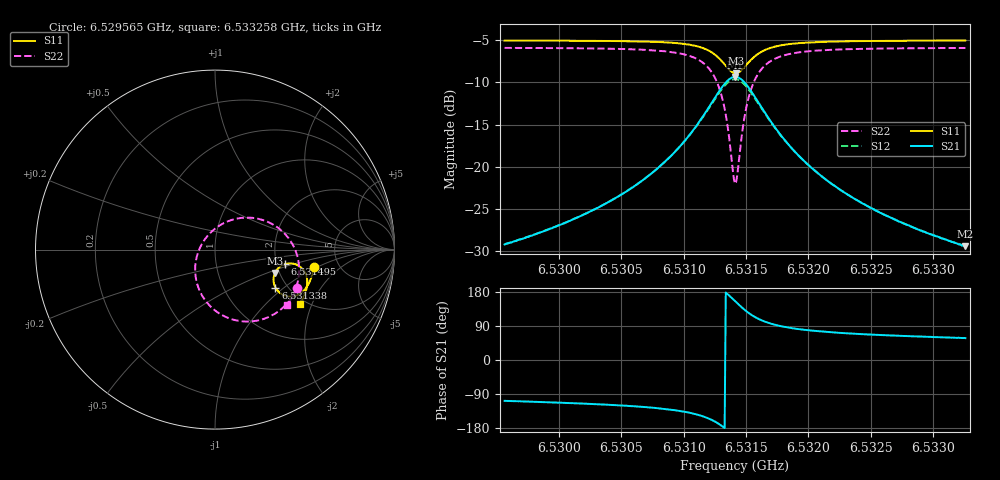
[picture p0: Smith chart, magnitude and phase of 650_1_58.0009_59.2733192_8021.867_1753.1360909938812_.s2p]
#  HZ  S  RI  R  50.00
! Rohde & Schwarz Vector Network Analyzer
! Rohde-Schwarz,ZNB20-2Port,1311601062101988,3.16
! Created: UTC 3/21/2024, 1:19:24 AM
! freq[Hz]  re:S11  im:S11  re:S21  im:S21  re:S12  im:S12  re:S22  im:S22
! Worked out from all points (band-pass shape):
!   401 points, 6.529565 GHz to 6.533258 GHz, reference 50 ohm
!   highest |S21| = -9.34 dB at 6.531412 GHz (marker M1); lowest = -29.5 dB at 6.533258 GHz (marker M2)
!   |S21| within 3 dB of the highest: 6.531229 GHz to 6.531597 GHz (368.8 kHz wide, 0.00565 % of centre)
!   lowest |S11| = -8.9 dB at 6.531421 GHz (marker M3), VSWR 2.12, Z = 94.7 - j28.3 ohm
!   |S11| at or under -10 dB: nowhere
!   |S22| runs from -22.0 to -5.9 dB; largest |S21 - S12| = 0.014
!   S11 on the Smith chart (normalised r, x): 6.529565 GHz: 3.26, -0.93; 6.531338 GHz: 1.74, -0.87; 6.531495 GHz: 2.21, -0.43; 6.533258 GHz: 1.84, -1.64
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6.5295654e9  0.5517 -0.0985  -0.0105 -0.0328  -0.0112 -0.0326  0.4592 -0.216
6.5301839e9  0.5383 -0.151  -0.0217 -0.0464  -0.0228 -0.046  0.4232 -0.2745
6.5305162e9  0.5257 -0.1829  -0.035 -0.0598  -0.0365 -0.0589  0.3881 -0.3147
6.5308024e9  0.506 -0.2154  -0.0604 -0.0787  -0.0628 -0.0769  0.3308 -0.3589
6.5310239e9  0.4738 -0.2452  -0.1084 -0.0988  -0.1114 -0.0948  0.2353 -0.3957
6.5311809e9  0.4231 -0.261  -0.1873 -0.1006  -0.1892 -0.0922  0.0926 -0.3876
6.5312732e9  0.3726 -0.2485  -0.2648 -0.0623  -0.262 -0.051  -0.0335 -0.308
6.5313101e9  0.3507 -0.231  -0.297 -0.0261  -0.2907 -0.0144  -0.0801 -0.2408
6.5313378e9  0.3366 -0.2114  -0.3157 0.0118  -0.3069 0.0224  -0.1038 -0.1744
6.5313932e9  0.3266 -0.1581  -0.3219 0.108  -0.3086 0.1131  -0.0947 -0.0162
6.5314117e9  0.3307 -0.1391  -0.3108 0.1408  -0.2975 0.1436  -0.0708 0.0354
6.5314209e9  0.3344 -0.13  -0.303 0.1564  -0.2898 0.158  -0.0554 0.0592
6.5314393e9  0.3444 -0.1133  -0.2833 0.1845  -0.2707 0.1839  -0.0179 0.1013
6.5314578e9  0.3572 -0.0995  -0.2588 0.2077  -0.2475 0.2053  0.0259 0.1347
6.5314947e9  0.3875 -0.0818  -0.2038 0.2367  -0.1957 0.2322  0.1209 0.1724
6.5315594e9  0.4379 -0.0788  -0.1164 0.2411  -0.1123 0.2368  0.2673 0.1645
6.5316517e9  0.4823 -0.1025  -0.0404 0.2048  -0.0388 0.2025  0.3897 0.0874
6.5317901e9  0.5077 -0.142  0.00376 0.1499  0.00493 0.1489  0.4544 -0.0217
6.5320301e9  0.5139 -0.1894  0.0212 0.0953  0.0224 0.0949  0.4681 -0.1331
6.5323163e9  0.5074 -0.2263  0.023 0.064  0.0239 0.0637  0.4552 -0.2031
6.5326486e9  0.496 -0.2584  0.0213 0.0454  0.022 0.045  0.4359 -0.252
6.5332579e9  0.4714 -0.3056  0.0179 0.0285  0.0185 0.0282  0.4012 -0.3098
